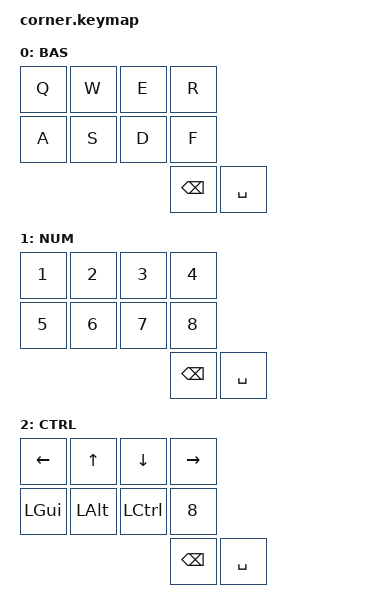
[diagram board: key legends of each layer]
/*
 * Copyright (c) 2020 The ZMK Contributors
 *
 * SPDX-License-Identifier: MIT
 */

#include <behaviors.dtsi>
#include <dt-bindings/zmk/keys.h>
#include <dt-bindings/zmk/bt.h>
#include <dt-bindings/zmk/outputs.h>
#include <dt-bindings/zmk/ext_power.h>
#include <dt-bindings/led/led.h>
#include <dt-bindings/zmk/backlight.h>
#include <dt-bindings/zmk/rgb.h>
#include <dt-bindings/zmk/reset.h>

/ {
    keymap {
        compatible = "zmk,keymap";

        default_layer {
            display-name = "BAS";
// -------------------------
// |  Q  |  W  |  E  |  R  |  
// |  A  |  S  |  D  |  F  |
// |     |     |     |  BSPC  |  SPACE  |  
                        bindings = <
   &kp Q   &kp W   &kp E   &kp R
   &kp A   &kp S   &kp D   &kp F
                           &kp BSPC   &kp SPACE
                        >;
        };

        number_layer {
            display-name = "NUM";
// -------------------------
// |  1  |  2  |  3  |  4  |
// |  5  |  6  |  7  |  8  |
//                   | GUI |  ENT |
                        bindings = <
   &kp N1       &kp N2       &kp N3       &kp N4
   &kp N5       &kp N6       &kp N7       &kp N8
                             &kp BSPC     &kp SPACE
                        >;
        };

        ctrl_layer {
            display-name = "CTRL";
                        bindings = <
   &kp LEFT     &kp UP       &kp DOWN     &kp RIGHT
   &kp LGUI     &kp LALT     &kp LCTRL    &kp N8
                             &kp BSPC     &kp SPACE
                        >;
        };
        
        extra_1 {
            status = "reserved";
        };

        extra_2 {
            status = "reserved";
        };

        extra_3 {
            status = "reserved";
        };
    };
};
